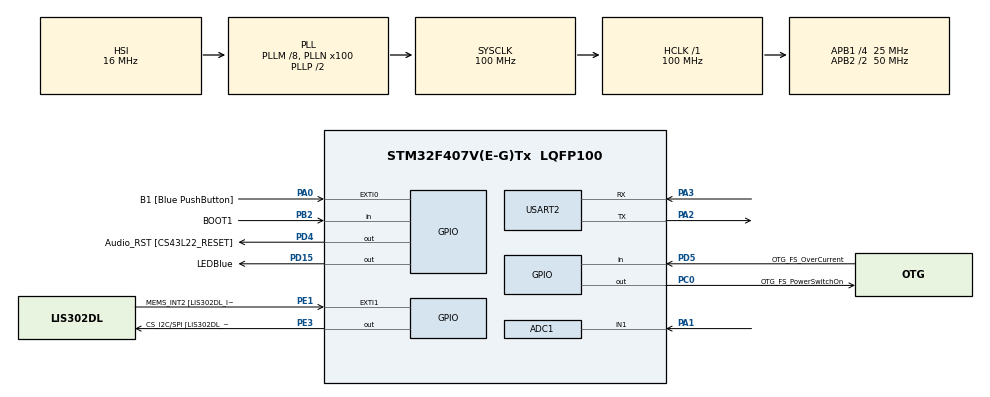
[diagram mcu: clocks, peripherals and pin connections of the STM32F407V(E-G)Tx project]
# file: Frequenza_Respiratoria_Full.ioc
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ADC1.Channel-0\#ChannelRegularConversion=ADC_CHANNEL_1
ADC1.ContinuousConvMode=ENABLE
ADC1.DMAContinuousRequests=ENABLE
ADC1.NbrOfConversionFlag=1
ADC1.Rank-0\#ChannelRegularConversion=1
ADC1.SamplingTime-0\#ChannelRegularConversion=ADC_SAMPLETIME_3CYCLES
ADC1.master=1
Dma.ADC1.0.Direction=DMA_PERIPH_TO_MEMORY
Dma.ADC1.0.FIFOMode=DMA_FIFOMODE_DISABLE
Dma.ADC1.0.Instance=DMA2_Stream0
Dma.ADC1.0.MemDataAlignment=DMA_MDATAALIGN_HALFWORD
Dma.ADC1.0.MemInc=DMA_MINC_ENABLE
Dma.ADC1.0.Mode=DMA_CIRCULAR
Dma.ADC1.0.PeriphDataAlignment=DMA_PDATAALIGN_HALFWORD
Dma.ADC1.0.PeriphInc=DMA_PINC_DISABLE
Dma.ADC1.0.Priority=DMA_PRIORITY_LOW
Dma.Request0=ADC1
Mcu.Family=STM32F4
Mcu.Name=STM32F407V(E-G)Tx
Mcu.Package=LQFP100
NVIC.DMA2_Stream0_IRQn=true\:0\:0\:false\:false\:true\:false\:true\:true
NVIC.PriorityGroup=NVIC_PRIORITYGROUP_0
PA0-WKUP.GPIO_Label=B1 [Blue PushButton]
PA0-WKUP.Signal=GPXTI0
PA1.Signal=ADCx_IN1
PA10.GPIO_Label=OTG_FS_ID
PA10.GPIO_Mode=GPIO_MODE_AF_PP
PA10.GPIO_PuPd=GPIO_NOPULL
PA10.GPIO_Speed=GPIO_SPEED_FREQ_LOW
PA10.Signal=USB_OTG_FS_ID
PA11.GPIO_Label=OTG_FS_DM
PA11.GPIO_Mode=GPIO_MODE_AF_PP
PA11.GPIO_PuPd=GPIO_NOPULL
PA11.GPIO_Speed=GPIO_SPEED_FREQ_LOW
PA11.Signal=USB_OTG_FS_DM
PA12.GPIO_Label=OTG_FS_DP
PA12.GPIO_Mode=GPIO_MODE_AF_PP
PA12.GPIO_PuPd=GPIO_NOPULL
PA12.GPIO_Speed=GPIO_SPEED_FREQ_LOW
PA12.Signal=USB_OTG_FS_DP
PA13.GPIO_Label=SWDIO
PA13.Mode=Serial_Wire
PA13.Signal=SYS_JTMS-SWDIO
PA14.GPIO_Label=SWCLK
PA14.Mode=Serial_Wire
PA14.Signal=SYS_JTCK-SWCLK
PA2.Mode=Asynchronous
PA2.Signal=USART2_TX
PA3.Mode=Asynchronous
PA3.Signal=USART2_RX
PA4.GPIO_Label=I2S3_WS [CS43L22_LRCK]
PA4.GPIO_Mode=GPIO_MODE_AF_PP
PA4.GPIO_PuPd=GPIO_NOPULL
PA4.GPIO_Speed=GPIO_SPEED_FREQ_LOW
PA4.Signal=I2S3_WS
PA5.GPIO_Label=SPI1_SCK [LIS302DL_SCL/SPC]
PA5.GPIO_Mode=GPIO_MODE_AF_PP
PA5.GPIO_PuPd=GPIO_NOPULL
PA5.GPIO_Speed=GPIO_SPEED_FREQ_LOW
PA5.Signal=SPI1_SCK
PA6.GPIO_Label=SPI1_MISO [LIS302DL_SDO]
PA6.GPIO_Mode=GPIO_MODE_AF_PP
PA6.GPIO_PuPd=GPIO_NOPULL
PA6.GPIO_Speed=GPIO_SPEED_FREQ_LOW
PA6.Signal=SPI1_MISO
PA7.GPIO_Label=SPI1_MOSI [LIS302DL_SDA/SDI/SDO]
PA7.GPIO_Mode=GPIO_MODE_AF_PP
PA7.GPIO_PuPd=GPIO_NOPULL
PA7.GPIO_Speed=GPIO_SPEED_FREQ_LOW
PA7.Signal=SPI1_MOSI
PA9.GPIO_Label=VBUS_FS
PA9.GPIO_Mode=GPIO_MODE_INPUT
PA9.GPIO_PuPd=GPIO_NOPULL
PA9.Signal=USB_OTG_FS_VBUS
PB10.GPIO_Label=CLK_IN [MP45DT02_CLK]
PB10.GPIO_Mode=GPIO_MODE_AF_PP
PB10.GPIO_PuPd=GPIO_NOPULL
PB10.GPIO_Speed=GPIO_SPEED_FREQ_LOW
PB10.Signal=I2S2_CK
PB2.GPIO_Label=BOOT1
PB2.GPIO_Mode=GPIO_MODE_INPUT
PB2.GPIO_PuPd=GPIO_NOPULL
PB2.Signal=GPIO_Input
PB3.GPIO_Label=SWO
PB3.Signal=SYS_JTDO-SWO
PB6.GPIO_Label=Audio_SCL [CS43L22_SCL]
PB6.GPIO_Mode=GPIO_MODE_AF_OD
PB6.GPIO_PuPd=GPIO_NOPULL
PB6.GPIO_Speed=GPIO_SPEED_FREQ_LOW
PB6.Signal=I2C1_SCL
PB9.GPIO_Label=Audio_SDA [CS43L22_SDA]
PB9.GPIO_Mode=GPIO_MODE_AF_OD
PB9.GPIO_PuPd=GPIO_NOPULL
PB9.GPIO_Speed=GPIO_SPEED_FREQ_LOW
PB9.Signal=I2C1_SDA
PC0.GPIO_Label=OTG_FS_PowerSwitchOn
PC0.GPIO_PuPd=GPIO_NOPULL
PC0.GPIO_Speed=GPIO_SPEED_FREQ_LOW
PC0.PinState=GPIO_PIN_SET
PC0.Signal=GPIO_Output
PC10.GPIO_Label=I2S3_SCK [CS43L22_SCLK]
PC10.GPIO_Mode=GPIO_MODE_AF_PP
PC10.GPIO_PuPd=GPIO_NOPULL
PC10.GPIO_Speed=GPIO_SPEED_FREQ_LOW
PC10.Signal=I2S3_CK
PC12.GPIO_Label=I2S3_SD [CS43L22_SDIN]
PC12.GPIO_Mode=GPIO_MODE_AF_PP
PC12.GPIO_PuPd=GPIO_NOPULL
PC12.GPIO_Speed=GPIO_SPEED_FREQ_LOW
PC12.Signal=I2S3_SD
PC14-OSC32_IN.GPIO_Label=PC14-OSC32_IN
PC14-OSC32_IN.Signal=RCC_OSC32_IN
PC15-OSC32_OUT.GPIO_Label=PC15-OSC32_OUT
PC15-OSC32_OUT.Signal=RCC_OSC32_OUT
PC3.GPIO_Label=PDM_OUT [MP45DT02_DOUT]
PC3.GPIO_Mode=GPIO_MODE_AF_PP
PC3.GPIO_PuPd=GPIO_NOPULL
PC3.GPIO_Speed=GPIO_SPEED_FREQ_LOW
PC3.Signal=I2S2_SD
PC7.GPIO_Label=I2S3_MCK [CS43L22_MCLK]
PC7.GPIO_Mode=GPIO_MODE_AF_PP
PC7.GPIO_PuPd=GPIO_NOPULL
PC7.GPIO_Speed=GPIO_SPEED_FREQ_LOW
PC7.Signal=I2S3_MCK
PD15.GPIO_Label=LEDBlue
PD15.GPIO_PuPd=GPIO_NOPULL
PD15.GPIO_Speed=GPIO_SPEED_FREQ_LOW
PD15.Signal=GPIO_Output
PD4.GPIO_Label=Audio_RST [CS43L22_RESET]
PD4.GPIO_PuPd=GPIO_NOPULL
PD4.GPIO_Speed=GPIO_SPEED_FREQ_LOW
PD4.Signal=GPIO_Output
PD5.GPIO_Label=OTG_FS_OverCurrent
PD5.GPIO_Mode=GPIO_MODE_INPUT
PD5.GPIO_PuPd=GPIO_NOPULL
PD5.Signal=GPIO_Input
PE1.GPIO_Label=MEMS_INT2 [LIS302DL_INT2]
PE1.GPIO_ModeDefaultEXTI=GPIO_MODE_EVT_RISING
PE1.GPIO_PuPd=GPIO_NOPULL
PE1.Signal=GPXTI1
PE3.GPIO_Label=CS_I2C/SPI [LIS302DL_CS_I2C/SPI]
PE3.GPIO_PuPd=GPIO_NOPULL
PE3.GPIO_Speed=GPIO_SPEED_FREQ_LOW
PE3.Signal=GPIO_Output
PH0-OSC_IN.GPIO_Label=PH0-OSC_IN
PH0-OSC_IN.Signal=RCC_OSC_IN
PH1-OSC_OUT.GPIO_Label=PH1-OSC_OUT
PH1-OSC_OUT.Signal=RCC_OSC_OUT
ProjectManager.HeapSize=0x200
ProjectManager.StackSize=0x400
ProjectManager.TargetToolchain=STM32CubeIDE
RCC.48MHZClocksFreq_Value=28571428.57142857
RCC.AHBFreq_Value=100000000
RCC.APB1CLKDivider=RCC_HCLK_DIV4
RCC.APB1Freq_Value=25000000
RCC.APB1TimFreq_Value=50000000
RCC.APB2CLKDivider=RCC_HCLK_DIV2
RCC.APB2Freq_Value=50000000
RCC.APB2TimFreq_Value=100000000
RCC.CortexFreq_Value=100000000
RCC.HCLKFreq_Value=100000000
RCC.HSE_VALUE=8000000
RCC.HSI_VALUE=16000000
RCC.LSE_VALUE=32768
RCC.PLLM=8
RCC.PLLN=100
RCC.PLLQ=7
RCC.SYSCLKFreq_VALUE=100000000
RCC.SYSCLKSource=RCC_SYSCLKSOURCE_PLLCLK
RCC.VCOOutputFreq_Value=200000000
SH.ADCx_IN1.0=ADC1_IN1,IN1
STMicroelectronics.X-CUBE-ALGOBUILD.1.3.0.LibraryCcDSPOoLibraryJjDSPOoLibrary=true
USART2.VirtualMode=VM_ASYNC
VP_STMicroelectronics.X-CUBE-ALGOBUILD_VS_DSPOoLibraryJjLibrary_1.3.0_1.3.0.Mode=DSPOoLibraryJjLibrary
board=STM32F407G-DISC1

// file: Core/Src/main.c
/* USER CODE BEGIN Header */
/**
  ******************************************************************************
  * @file           : main.c
  * @brief          : Main program body
  ******************************************************************************
  * @attention
  *
  * Copyright (c) 2023 STMicroelectronics.
  * All rights reserved.
  *
  * This software is licensed under terms that can be found in the LICENSE file
  * in the root directory of this software component.
  * If no LICENSE file comes with this software, it is provided AS-IS.
  *
  ******************************************************************************
  */
/* USER CODE END Header */
#include "main.h"

/* USER CODE BEGIN Includes */
//https://www.youtube.com/watch?v=iU9Jb06Fpp4&lc=Ugxi7EpiAMnnVwpu3YF4AaABAg.9wjBtW2wV1w9wmlrlGRIeD
#include <string.h>
#include <stdio.h>
#include "arm_math.h"
/* USER CODE END Includes */

/* USER CODE BEGIN PD */
#define ADC_BUF_LEN 1024          //E' la lunghezza della FFT. Forse va uguale al num di bit dell'ADC?? Cioè 2^12 = 4096
#define SAMPLING_RATE 6000

#define PRINTF 0
/* USER CODE END PD */

ADC_HandleTypeDef hadc1;
DMA_HandleTypeDef hdma_adc1;

UART_HandleTypeDef huart2;

/* USER CODE BEGIN PV */
arm_rfft_fast_instance_f32 fft_audio_instance;
uint16_t adc_in_value[ADC_BUF_LEN];
float adc_in_value_volt[ADC_BUF_LEN];     //"adc_in_value" convertito in volt (tensione)

float32_t input_fft[ADC_BUF_LEN];
float32_t output_fft[ADC_BUF_LEN];
float32_t output_fft_mag[ADC_BUF_LEN / 2];
float32_t frequencies_axis_half_size[ADC_BUF_LEN / 2];
float32_t frequencies_axis[ADC_BUF_LEN / 2];

uint8_t fftIndex = 0;
int i = 0;
volatile uint16_t HalfCpltCallback;    //half_i2s
volatile uint16_t CpltCallback;        //full_i2s

float peakVal = 0.0f;
uint16_t peakHz = 0;
float curVal = 0;
/* USER CODE END PV */

void SystemClock_Config(void);
static void MX_GPIO_Init(void);
static void MX_DMA_Init(void);
static void MX_USART2_UART_Init(void);
static void MX_ADC1_Init(void);

int main(void)
{

  /* MCU Configuration--------------------------------------------------------*/

  /* Reset of all peripherals, Initializes the Flash interface and the Systick. */
  HAL_Init();

  /* Configure the system clock */
  SystemClock_Config();

  /* Initialize all configured peripherals */
  MX_GPIO_Init();
  MX_DMA_Init();
  MX_USART2_UART_Init();
  MX_ADC1_Init();
  /* USER CODE BEGIN 2 */
  arm_rfft_fast_init_f32(&fft_audio_instance, ADC_BUF_LEN); //Inizializzo la FFT
  /* USER CODE END 2 */

  /* Infinite loop */
  /* USER CODE BEGIN WHILE */
  while (1)
  {

#if 0
	    int frequency = 1000;
		//generate sinusoidal signal (this is what you receive from outside in the ADC pin, for example)
		HAL_Delay(100);
		for (int i = 0; i < FFT_LENGTH; i++) {
			sine_val[i] = arm_sin_f32(2*PI*frequency*i/SAMPLING_RATE);
			//"sine_val" contains only one frequency (500Hz), so "output_fft" must contain all 0 except a spike at 500Hz
		}
#endif

		HAL_ADC_Start_DMA(&hadc1, (uint32_t*) adc_in_value, ADC_BUF_LEN);
		//aggiungi in basso delle funzioni callback perchè il main.c non sa quando il buffer è pieno (o pieno a metà)

//---------------------------------------------------------------------------------------------
		if (CpltCallback == 1) {      //full buffer riempito

		HAL_GPIO_WritePin(GPIOD, GPIO_PIN_15, GPIO_PIN_SET);

		for (i = 0; i < ADC_BUF_LEN; i++) {
		adc_in_value_volt[i] = ((float)(adc_in_value[i])*3/4096);
		//printf("adc_in_value[%d] = %d\n", i, adc_in_value[i]);
		//printf("adc_in_value_volt[%d]: %f\n", i, adc_in_value_volt[i]);
		}

		//"output_fft" contiene: frequency values and phase informations.
		//E' formato da complex numbers:
		//- in posizione pari ci sono i numeri reali
		//- in posizione dispari c'è la parte immaginary del numero complesso.
		//Perciò, "output_fft" = [a0, b0, a1, b1, a2, b2, .. , a(N/2)-1, b(N/2)-] = a0+ib0, a1+ib1, a2+ib2 ..
		//..in cui a0,a1,a2 etc. sono la parte reale mentre b0,b1,b2 etc. sono la parte immaginaria del numero complesso.
		//Quindi se "adc_in_value_volt" input a sta funzione ha "ADC_BUF_LEN" elementi,
		//..allora "output_fft" in output avrà sempre dimensione "ADC_BUF_LEN", ma conterrà "ADC_BUF_LEN / 2" numeri complessi al suo interno .. dato che come ho detto è così: a0+ib0, a1+ib1, a2+ib2 ..
		arm_rfft_fast_f32(&fft_audio_instance, adc_in_value_volt, output_fft, 0);

		//ORA HO CALCOLATO LA FFT DI "adc_in_value_volt", RICORDA CHE CONTIENE SOLO "ADC_BUF_LEN" ELEMENTI!

		//estraggo magnitude perchè ci interessa quella .. non ci interessa la fase!
		//Estrai da "output_fft" la magnitude che è, per forza, metà fft (cioè FFT_LENGTH/2).
		//Quindi, sapendo che "output_fft" = [a0, b0, a1, b1, a2, b2, ..] = a0+ib0, a1+ib1, a2+ib2 ..
		//ottieni "output_fft_mag" = [c0, c1, c2 .. ] con c0 = sqrt(a0^2+b0^2), c1 = sqrt(a1^2+b1^2), c2 = sqrt(a2^2+b2^2)

		/*
		//1° Metodo per estrarre magnitude:
		arm_cmplx_mag_f32(output_fft, (float32_t*)output_fft_mag, ADC_BUF_LEN/2);
		output_fft_mag[0] = 0; //bias
		for (i = 0; i < ADC_BUF_LEN / 2; i++) {
			frequencies_axis[i] = ((i * SAMPLING_RATE) / ADC_BUF_LEN);
			printf("i = %d   frequency %f: %f \n", i, frequencies_axis[i], output_fft_mag[i]);
			//printf("frequency %f \n", frequencies_axis[i]);
			//HAL_UART_Transmit(&huart1, (uint16_t*)(frequencies_axis_str[i]), FFT_LENGTH / 2, HAL_MAX_DELAY);
			//HAL_Delay(5);
		}*/

		//2° Metodo per estrarre magnitude:
		uint16_t freqIndex = 0;
		for (uint16_t index = 0; index < ADC_BUF_LEN; index += 2) {

			curVal = sqrtf((output_fft[index] * output_fft[index]) + (output_fft[index+1] * output_fft[index+1]));                                                                                                  //k

			if (curVal > peakVal) {
				peakVal = curVal;
				peakHz = (uint16_t) (freqIndex * SAMPLING_RATE / ((float)ADC_BUF_LEN));
			}
			freqIndex++;
		}

	printf("peakHz = %f \n", peakVal);

CpltCallback = 0;

HAL_GPIO_WritePin(GPIOD, GPIO_PIN_15, GPIO_PIN_RESET);
}	//fine CpltCallback == 1
//---------------------------------------------------------------------------------------------

#if 0
		//"output_fft" contiene: frequency values and phase informations.
		//E' formato da complex numbers:
		//- in posizione pari ci sono i numeri reali
		//- in posizione dispari c'è la parte immaginary del numero complesso.
		//Perciò, "output_fft" = [a0, b0, a1, b1, a2, b2, .. , a(N/2)-1, b(N/2)-] = a0+ib0, a1+ib1, a2+ib2 ..
		//..in cui a0,a1,a2 etc. sono la parte reale mentre b0,b1,b2 etc. sono la parte immaginaria del numero complesso.
		//Quindi se "adc_in_value_volt" input a sta funzione ha "ADC_BUF_LEN" elementi,
		//..allora "output_fft" in output avrà sempre dimensione "ADC_BUF_LEN", ma conterrà "ADC_BUF_LEN / 2" numeri complessi al suo interno .. dato che come ho detto è così: a0+ib0, a1+ib1, a2+ib2 ..
		arm_rfft_fast_f32(&fft_audio_instance, adc_in_value_volt, output_fft, 0);
		/*for (i = 0; i < ADC_BUF_LEN; i++) {
		printf("output_fft[%d]: %f\n", i, output_fft[i]);
		}*/

		//estraggo magnitude perchè ci interessa quella .. non ci interessa la fase!
		//Estrai da "output_fft" la magnitude che è, per forza, metà fft (cioè FFT_LENGTH/2).
		//Quindi, sapendo che "output_fft" = [a0, b0, a1, b1, a2, b2, ..] = a0+ib0, a1+ib1, a2+ib2 ..
		//ottieni "output_fft_mag" = [c0, c1, c2 .. ] con c0 = sqrt(a0^2+b0^2), c1 = sqrt(a1^2+b1^2), c2 = sqrt(a2^2+b2^2)

				//1° Metodo per estrarre magnitude:
		//arm_cmplx_mag_f32(output_fft, (float32_t*)output_fft_mag, ADC_BUF_LEN/2);
		//output_fft_mag[0] = 0; //bias
		for (i = 0; i < ADC_BUF_LEN / 2; i++) {
				frequencies_axis[i] = ((i * SAMPLING_RATE) / ADC_BUF_LEN);
				printf("i = %d   frequency %f: %f \n", i, frequencies_axis[i], output_fft_mag[i]);
				//printf("frequency %f \n", frequencies_axis[i]);
				//HAL_UART_Transmit(&huart1, (uint16_t*)(frequencies_axis_str[i]), FFT_LENGTH / 2, HAL_MAX_DELAY);
				//HAL_Delay(5);
			}

				//2° Metodo per estrarre magnitude:
		uint16_t freqIndex = 0;
		for (uint16_t index = 0; index < ADC_BUF_LEN; index += 2) {

			curVal = sqrtf((output_fft[index] * output_fft[index]) + (output_fft[index+1] * output_fft[index+1]));                                                                                                  //k

			if (curVal > peakVal) {
				peakVal = curVal;
				peakHz = (uint16_t) (freqIndex * SAMPLING_RATE / ((float)ADC_BUF_LEN));
			}
			freqIndex++;
		}
#endif

		/*for (i = 0; i < ADC_BUF_LEN; i++) {
			frequencies_axis[i] = ((i * SAMPLING_RATE) / ADC_BUF_LEN);
			printf("i = %d   frequency %f: %f \n", i, frequencies_axis[i], output_fft_mag[i]);
			//printf("frequency %f \n", frequencies_axis[i]);
			//HAL_UART_Transmit(&huart1, (uint16_t*)(frequencies_axis_str[i]), FFT_LENGTH / 2, HAL_MAX_DELAY);
			//HAL_Delay(5);
		}*/

#if 0
	  HAL_GPIO_WritePin(GPIOD, GPIO_PIN_15, GPIO_PIN_SET); //inizio, start timing

	  //Get ADC values:
	  HAL_ADC_Start_DMA(&hadc1, adc_in_value, sizeof(adc_in_value));
	  HAL_ADC_PollForConversion(&hadc1, HAL_MAX_DELAY);  //Poll for regular conversion complete .. il processore si blocca finchè non viene fatta conversione adc                         k
	  adc_in_value = HAL_ADC_GetValue(&hadc1);
	  tensione = adc_in_value*3/4095.0;

	  	  for (int i = 0; i < SAMPLES; i++) {
	  		  vReal[i] = tensione; // Converti il valore letto in tensione (0-3V) e convertilo in double
	  		  vImag[i] = 0;            // Imposta la parte immaginaria a zero (nel tuo caso)

	  		  HAL_Delay(1000 / SAMPLING_FREQUENCY);  //delay = 1s / SAMPLING_FREQUENCY
	  	  }
#endif

	  // Applica la finestra di Hamming ai dati
	  //FFT.Windowing(vReal, SAMPLES, FFT_WIN_TYP_HAMMING, FFT_FORWARD);

	  // Esegui la FFT
	  //FFT.Compute(vReal, vImag, SAMPLES, FFT_FORWARD);

	  // Trova la frequenza massima
	  //double peak = FFT.MajorPeak();

	  //sprintf(adc_in_str, "hu\r\n", adc_in_value); //converto "adc_in" in stringa per stamparlo
	  //HAL_UART_Transmit(&huart2, (uint8_t*)adc_in_str, strlen(adc_in_str), HAL_MAX_DELAY);

    /* USER CODE END WHILE */

  }
}

void SystemClock_Config(void)
{
  RCC_OscInitTypeDef RCC_OscInitStruct = {0};
  RCC_ClkInitTypeDef RCC_ClkInitStruct = {0};

  /** Configure the main internal regulator output voltage
  */
  __HAL_RCC_PWR_CLK_ENABLE();
  __HAL_PWR_VOLTAGESCALING_CONFIG(PWR_REGULATOR_VOLTAGE_SCALE1);

  /** Initializes the RCC Oscillators according to the specified parameters
  * in the RCC_OscInitTypeDef structure.
  */
  RCC_OscInitStruct.OscillatorType = RCC_OSCILLATORTYPE_HSI;
  RCC_OscInitStruct.HSIState = RCC_HSI_ON;
  RCC_OscInitStruct.HSICalibrationValue = RCC_HSICALIBRATION_DEFAULT;
  RCC_OscInitStruct.PLL.PLLState = RCC_PLL_ON;
  RCC_OscInitStruct.PLL.PLLSource = RCC_PLLSOURCE_HSI;
  RCC_OscInitStruct.PLL.PLLM = 8;
  RCC_OscInitStruct.PLL.PLLN = 100;
  RCC_OscInitStruct.PLL.PLLP = RCC_PLLP_DIV2;
  RCC_OscInitStruct.PLL.PLLQ = 7;
  if (HAL_RCC_OscConfig(&RCC_OscInitStruct) != HAL_OK)
  {
    Error_Handler();
  }

  /** Initializes the CPU, AHB and APB buses clocks
  */
  RCC_ClkInitStruct.ClockType = RCC_CLOCKTYPE_HCLK|RCC_CLOCKTYPE_SYSCLK
                              |RCC_CLOCKTYPE_PCLK1|RCC_CLOCKTYPE_PCLK2;
  RCC_ClkInitStruct.SYSCLKSource = RCC_SYSCLKSOURCE_PLLCLK;
  RCC_ClkInitStruct.AHBCLKDivider = RCC_SYSCLK_DIV1;
  RCC_ClkInitStruct.APB1CLKDivider = RCC_HCLK_DIV4;
  RCC_ClkInitStruct.APB2CLKDivider = RCC_HCLK_DIV2;

  if (HAL_RCC_ClockConfig(&RCC_ClkInitStruct, FLASH_LATENCY_3) != HAL_OK)
  {
    Error_Handler();
  }
}

static void MX_ADC1_Init(void)
{

  ADC_ChannelConfTypeDef sConfig = {0};

  /** Configure the global features of the ADC (Clock, Resolution, Data Alignment and number of conversion)
  */
  hadc1.Instance = ADC1;
  hadc1.Init.ClockPrescaler = ADC_CLOCK_SYNC_PCLK_DIV2;
  hadc1.Init.Resolution = ADC_RESOLUTION_12B;
  hadc1.Init.ScanConvMode = DISABLE;
  hadc1.Init.ContinuousConvMode = ENABLE;
  hadc1.Init.DiscontinuousConvMode = DISABLE;
  hadc1.Init.ExternalTrigConvEdge = ADC_EXTERNALTRIGCONVEDGE_NONE;
  hadc1.Init.ExternalTrigConv = ADC_SOFTWARE_START;
  hadc1.Init.DataAlign = ADC_DATAALIGN_RIGHT;
  hadc1.Init.NbrOfConversion = 1;
  hadc1.Init.DMAContinuousRequests = ENABLE;
  hadc1.Init.EOCSelection = ADC_EOC_SINGLE_CONV;
  if (HAL_ADC_Init(&hadc1) != HAL_OK)
  {
    Error_Handler();
  }

  /** Configure for the selected ADC regular channel its corresponding rank in the sequencer and its sample time.
  */
  sConfig.Channel = ADC_CHANNEL_1;
  sConfig.Rank = 1;
  sConfig.SamplingTime = ADC_SAMPLETIME_3CYCLES;
  if (HAL_ADC_ConfigChannel(&hadc1, &sConfig) != HAL_OK)
  {
    Error_Handler();
  }

}

static void MX_USART2_UART_Init(void)
{

  huart2.Instance = USART2;
  huart2.Init.BaudRate = 115200;
  huart2.Init.WordLength = UART_WORDLENGTH_8B;
  huart2.Init.StopBits = UART_STOPBITS_1;
  huart2.Init.Parity = UART_PARITY_NONE;
  huart2.Init.Mode = UART_MODE_TX_RX;
  huart2.Init.HwFlowCtl = UART_HWCONTROL_NONE;
  huart2.Init.OverSampling = UART_OVERSAMPLING_16;
  if (HAL_UART_Init(&huart2) != HAL_OK)
  {
    Error_Handler();
  }

}

static void MX_DMA_Init(void)
{

  /* DMA controller clock enable */
  __HAL_RCC_DMA2_CLK_ENABLE();

  /* DMA interrupt init */
  /* DMA2_Stream0_IRQn interrupt configuration */
  HAL_NVIC_SetPriority(DMA2_Stream0_IRQn, 0, 0);
  HAL_NVIC_EnableIRQ(DMA2_Stream0_IRQn);

}

static void MX_GPIO_Init(void)
{
  GPIO_InitTypeDef GPIO_InitStruct = {0};

  /* GPIO Ports Clock Enable */
  __HAL_RCC_GPIOE_CLK_ENABLE();
  __HAL_RCC_GPIOC_CLK_ENABLE();
  __HAL_RCC_GPIOH_CLK_ENABLE();
  __HAL_RCC_GPIOA_CLK_ENABLE();
  __HAL_RCC_GPIOB_CLK_ENABLE();
  __HAL_RCC_GPIOD_CLK_ENABLE();

  /*Configure GPIO pin Output Level */
  HAL_GPIO_WritePin(CS_I2C_SPI_GPIO_Port, CS_I2C_SPI_Pin, GPIO_PIN_RESET);

  /*Configure GPIO pin Output Level */
  HAL_GPIO_WritePin(OTG_FS_PowerSwitchOn_GPIO_Port, OTG_FS_PowerSwitchOn_Pin, GPIO_PIN_SET);

  /*Configure GPIO pin Output Level */
  HAL_GPIO_WritePin(GPIOD, LEDBlue_Pin|Audio_RST_Pin, GPIO_PIN_RESET);

  /*Configure GPIO pin : CS_I2C_SPI_Pin */
  GPIO_InitStruct.Pin = CS_I2C_SPI_Pin;
  GPIO_InitStruct.Mode = GPIO_MODE_OUTPUT_PP;
  GPIO_InitStruct.Pull = GPIO_NOPULL;
  GPIO_InitStruct.Speed = GPIO_SPEED_FREQ_LOW;
  HAL_GPIO_Init(CS_I2C_SPI_GPIO_Port, &GPIO_InitStruct);

  /*Configure GPIO pin : OTG_FS_PowerSwitchOn_Pin */
  GPIO_InitStruct.Pin = OTG_FS_PowerSwitchOn_Pin;
  GPIO_InitStruct.Mode = GPIO_MODE_OUTPUT_PP;
  GPIO_InitStruct.Pull = GPIO_NOPULL;
  GPIO_InitStruct.Speed = GPIO_SPEED_FREQ_LOW;
  HAL_GPIO_Init(OTG_FS_PowerSwitchOn_GPIO_Port, &GPIO_InitStruct);

  /*Configure GPIO pin : PDM_OUT_Pin */
  GPIO_InitStruct.Pin = PDM_OUT_Pin;
  GPIO_InitStruct.Mode = GPIO_MODE_AF_PP;
  GPIO_InitStruct.Pull = GPIO_NOPULL;
  GPIO_InitStruct.Speed = GPIO_SPEED_FREQ_LOW;
  GPIO_InitStruct.Alternate = GPIO_AF5_SPI2;
  HAL_GPIO_Init(PDM_OUT_GPIO_Port, &GPIO_InitStruct);

  /*Configure GPIO pin : B1_Pin */
  GPIO_InitStruct.Pin = B1_Pin;
  GPIO_InitStruct.Mode = GPIO_MODE_IT_RISING;
  GPIO_InitStruct.Pull = GPIO_NOPULL;
  HAL_GPIO_Init(B1_GPIO_Port, &GPIO_InitStruct);

  /*Configure GPIO pin : I2S3_WS_Pin */
  GPIO_InitStruct.Pin = I2S3_WS_Pin;
  GPIO_InitStruct.Mode = GPIO_MODE_AF_PP;
  GPIO_InitStruct.Pull = GPIO_NOPULL;
  GPIO_InitStruct.Speed = GPIO_SPEED_FREQ_LOW;
  GPIO_InitStruct.Alternate = GPIO_AF6_SPI3;
  HAL_GPIO_Init(I2S3_WS_GPIO_Port, &GPIO_InitStruct);

  /*Configure GPIO pins : SPI1_SCK_Pin SPI1_MISO_Pin SPI1_MOSI_Pin */
  GPIO_InitStruct.Pin = SPI1_SCK_Pin|SPI1_MISO_Pin|SPI1_MOSI_Pin;
  GPIO_InitStruct.Mode = GPIO_MODE_AF_PP;
  GPIO_InitStruct.Pull = GPIO_NOPULL;
  GPIO_InitStruct.Speed = GPIO_SPEED_FREQ_LOW;
  GPIO_InitStruct.Alternate = GPIO_AF5_SPI1;
  HAL_GPIO_Init(GPIOA, &GPIO_InitStruct);

  /*Configure GPIO pin : BOOT1_Pin */
  GPIO_InitStruct.Pin = BOOT1_Pin;
  GPIO_InitStruct.Mode = GPIO_MODE_INPUT;
  GPIO_InitStruct.Pull = GPIO_NOPULL;
  HAL_GPIO_Init(BOOT1_GPIO_Port, &GPIO_InitStruct);

  /*Configure GPIO pin : CLK_IN_Pin */
  GPIO_InitStruct.Pin = CLK_IN_Pin;
  GPIO_InitStruct.Mode = GPIO_MODE_AF_PP;
  GPIO_InitStruct.Pull = GPIO_NOPULL;
  GPIO_InitStruct.Speed = GPIO_SPEED_FREQ_LOW;
  GPIO_InitStruct.Alternate = GPIO_AF5_SPI2;
  HAL_GPIO_Init(CLK_IN_GPIO_Port, &GPIO_InitStruct);

  /*Configure GPIO pins : LEDBlue_Pin Audio_RST_Pin */
  GPIO_InitStruct.Pin = LEDBlue_Pin|Audio_RST_Pin;
  GPIO_InitStruct.Mode = GPIO_MODE_OUTPUT_PP;
  GPIO_InitStruct.Pull = GPIO_NOPULL;
  GPIO_InitStruct.Speed = GPIO_SPEED_FREQ_LOW;
  HAL_GPIO_Init(GPIOD, &GPIO_InitStruct);

  /*Configure GPIO pins : I2S3_MCK_Pin I2S3_SCK_Pin I2S3_SD_Pin */
  GPIO_InitStruct.Pin = I2S3_MCK_Pin|I2S3_SCK_Pin|I2S3_SD_Pin;
  GPIO_InitStruct.Mode = GPIO_MODE_AF_PP;
  GPIO_InitStruct.Pull = GPIO_NOPULL;
  GPIO_InitStruct.Speed = GPIO_SPEED_FREQ_LOW;
  GPIO_InitStruct.Alternate = GPIO_AF6_SPI3;
  HAL_GPIO_Init(GPIOC, &GPIO_InitStruct);

  /*Configure GPIO pin : VBUS_FS_Pin */
  GPIO_InitStruct.Pin = VBUS_FS_Pin;
  GPIO_InitStruct.Mode = GPIO_MODE_INPUT;
  GPIO_InitStruct.Pull = GPIO_NOPULL;
  HAL_GPIO_Init(VBUS_FS_GPIO_Port, &GPIO_InitStruct);

  /*Configure GPIO pins : OTG_FS_ID_Pin OTG_FS_DM_Pin OTG_FS_DP_Pin */
  GPIO_InitStruct.Pin = OTG_FS_ID_Pin|OTG_FS_DM_Pin|OTG_FS_DP_Pin;
  GPIO_InitStruct.Mode = GPIO_MODE_AF_PP;
  GPIO_InitStruct.Pull = GPIO_NOPULL;
  GPIO_InitStruct.Speed = GPIO_SPEED_FREQ_LOW;
  GPIO_InitStruct.Alternate = GPIO_AF10_OTG_FS;
  HAL_GPIO_Init(GPIOA, &GPIO_InitStruct);

  /*Configure GPIO pin : OTG_FS_OverCurrent_Pin */
  GPIO_InitStruct.Pin = OTG_FS_OverCurrent_Pin;
  GPIO_InitStruct.Mode = GPIO_MODE_INPUT;
  GPIO_InitStruct.Pull = GPIO_NOPULL;
  HAL_GPIO_Init(OTG_FS_OverCurrent_GPIO_Port, &GPIO_InitStruct);

  /*Configure GPIO pins : Audio_SCL_Pin Audio_SDA_Pin */
  GPIO_InitStruct.Pin = Audio_SCL_Pin|Audio_SDA_Pin;
  GPIO_InitStruct.Mode = GPIO_MODE_AF_OD;
  GPIO_InitStruct.Pull = GPIO_NOPULL;
  GPIO_InitStruct.Speed = GPIO_SPEED_FREQ_LOW;
  GPIO_InitStruct.Alternate = GPIO_AF4_I2C1;
  HAL_GPIO_Init(GPIOB, &GPIO_InitStruct);

  /*Configure GPIO pin : MEMS_INT2_Pin */
  GPIO_InitStruct.Pin = MEMS_INT2_Pin;
  GPIO_InitStruct.Mode = GPIO_MODE_EVT_RISING;
  GPIO_InitStruct.Pull = GPIO_NOPULL;
  HAL_GPIO_Init(MEMS_INT2_GPIO_Port, &GPIO_InitStruct);

}

/* USER CODE BEGIN 4 */

//Callback quando la prima metà del buffer è riempita/piena
void HAL_ADC_ConvHalfCpltCallback(ADC_HandleTypeDef* hadc) {

	//HAL_GPIO_WritePin(GPIOD, GPIO_PIN_15, GPIO_PIN_SET);
	HalfCpltCallback = 1;

}

void HAL_ADC_ConvCpltCallback(ADC_HandleTypeDef* hadc) {

	//HAL_GPIO_WritePin(GPIOD, GPIO_PIN_15, GPIO_PIN_RESET);
	CpltCallback = 1;

}

/* USER CODE END 4 */

void Error_Handler(void)
{
  __disable_irq();
  while (1)
  {
  }
}
